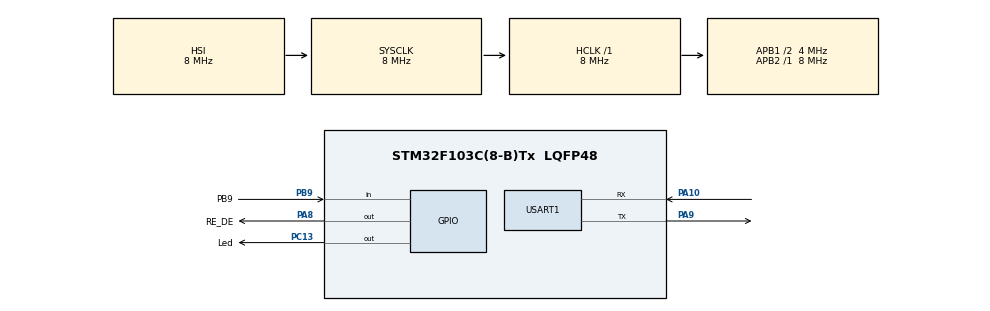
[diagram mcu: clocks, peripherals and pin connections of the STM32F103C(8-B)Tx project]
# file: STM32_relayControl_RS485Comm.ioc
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Mcu.Family=STM32F1
Mcu.Name=STM32F103C(8-B)Tx
Mcu.Package=LQFP48
NVIC.PriorityGroup=NVIC_PRIORITYGROUP_4
NVIC.USART1_IRQn=true\:0\:0\:false\:false\:true\:true\:true\:true
PA10.Mode=Asynchronous
PA10.Signal=USART1_RX
PA13.Mode=Serial_Wire
PA13.Signal=SYS_JTMS-SWDIO
PA14.Mode=Serial_Wire
PA14.Signal=SYS_JTCK-SWCLK
PA8.GPIO_Label=RE_DE
PA8.Signal=GPIO_Output
PA9.Mode=Asynchronous
PA9.Signal=USART1_TX
PB9.GPIO_Label=PB9
PB9.GPIO_PuPd=GPIO_PULLUP
PB9.Signal=GPIO_Input
PC13-TAMPER-RTC.GPIO_Label=Led
PC13-TAMPER-RTC.GPIO_Speed=GPIO_SPEED_FREQ_MEDIUM
PC13-TAMPER-RTC.PinState=GPIO_PIN_SET
PC13-TAMPER-RTC.Signal=GPIO_Output
PD0-OSC_IN.Mode=HSE-External-Oscillator
PD0-OSC_IN.Signal=RCC_OSC_IN
PD1-OSC_OUT.Mode=HSE-External-Oscillator
PD1-OSC_OUT.Signal=RCC_OSC_OUT
ProjectManager.HeapSize=0x200
ProjectManager.StackSize=0x400
ProjectManager.TargetToolchain=STM32CubeIDE
RCC.AHBFreq_Value=8000000
RCC.APB1CLKDivider=RCC_HCLK_DIV2
RCC.APB1Freq_Value=4000000
RCC.APB1TimFreq_Value=8000000
RCC.APB2Freq_Value=8000000
RCC.APB2TimFreq_Value=8000000
RCC.HCLKFreq_Value=8000000
RCC.PLLMUL=RCC_PLL_MUL9
RCC.SYSCLKFreq_VALUE=8000000
RCC.USBFreq_Value=36000000
USART1.VirtualMode=VM_ASYNC
board=custom

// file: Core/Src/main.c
/* USER CODE BEGIN Header */
/**
  ******************************************************************************
  * @file           : main.c
  * @brief          : Main program body
  ******************************************************************************
  * @attention
  *
  * Copyright (c) 2022 STMicroelectronics.
  * All rights reserved.
  *
  * This software is licensed under terms that can be found in the LICENSE file
  * in the root directory of this software component.
  * If no LICENSE file comes with this software, it is provided AS-IS.
  *
  ******************************************************************************
  */
/* USER CODE END Header */
#include "main.h"

/* USER CODE BEGIN Includes */
#include <stdio.h>
#include <string.h>
/* USER CODE END Includes */

UART_HandleTypeDef huart1;

void SystemClock_Config(void);
static void MX_GPIO_Init(void);
static void MX_USART1_UART_Init(void);

/* USER CODE BEGIN 0 */
char TxData[6];
uint8_t RxData[6];

void sendData (uint8_t *data)
{

	HAL_GPIO_WritePin(RE_DE_GPIO_Port, RE_DE_Pin, GPIO_PIN_SET);
	HAL_UART_Transmit(&huart1,data, strlen(data),1000);
	HAL_GPIO_WritePin(RE_DE_GPIO_Port, RE_DE_Pin, GPIO_PIN_RESET); //
}

void HAL_UARTEx_RxEventCallback(UART_HandleTypeDef *huart, uint16_t Size)
{
	HAL_UARTEx_ReceiveToIdle_IT(&huart1, RxData, 16);
	// The function ReceiveToIdle_IT will receive the incoming data and store in the temperature buffer, until the Idle line is detected.
}
/* USER CODE END 0 */

int main(void)
{

  /* MCU Configuration--------------------------------------------------------*/

  /* Reset of all peripherals, Initializes the Flash interface and the Systick. */
  HAL_Init();

  /* Configure the system clock */
  SystemClock_Config();

  /* Initialize all configured peripherals */
  MX_GPIO_Init();
  MX_USART1_UART_Init();
  /* USER CODE BEGIN 2 */

  HAL_UARTEx_ReceiveToIdle_IT(&huart1, RxData, 16);

  /* USER CODE END 2 */

  /* Infinite loop */
  while (1)
  {
    /* USER CODE BEGIN 3 */
	if(HAL_GPIO_ReadPin(GPIOB,PB9_Pin)==GPIO_PIN_RESET) {
	  HAL_GPIO_WritePin(Led_GPIO_Port, Led_Pin,GPIO_PIN_SET);
	  int num = 0;
	  sprintf(TxData,"%d",num);
	  sendData(TxData);
	  HAL_Delay(500);
	}
	else if(HAL_GPIO_ReadPin(GPIOB,PB9_Pin)==GPIO_PIN_SET) {
	  HAL_GPIO_WritePin(Led_GPIO_Port, Led_Pin,GPIO_PIN_RESET);
	  int num=1;
	  sprintf(TxData,"%d",num);
	  sendData(TxData);
	  HAL_Delay(500);
	}
  }
  /* USER CODE END 3 */
}

void SystemClock_Config(void)
{
  RCC_OscInitTypeDef RCC_OscInitStruct = {0};
  RCC_ClkInitTypeDef RCC_ClkInitStruct = {0};

  /** Initializes the RCC Oscillators according to the specified parameters
  * in the RCC_OscInitTypeDef structure.
  */
  RCC_OscInitStruct.OscillatorType = RCC_OSCILLATORTYPE_HSI;
  RCC_OscInitStruct.HSIState = RCC_HSI_ON;
  RCC_OscInitStruct.HSICalibrationValue = RCC_HSICALIBRATION_DEFAULT;
  RCC_OscInitStruct.PLL.PLLState = RCC_PLL_NONE;
  if (HAL_RCC_OscConfig(&RCC_OscInitStruct) != HAL_OK)
  {
    Error_Handler();
  }

  /** Initializes the CPU, AHB and APB buses clocks
  */
  RCC_ClkInitStruct.ClockType = RCC_CLOCKTYPE_HCLK|RCC_CLOCKTYPE_SYSCLK
                              |RCC_CLOCKTYPE_PCLK1|RCC_CLOCKTYPE_PCLK2;
  RCC_ClkInitStruct.SYSCLKSource = RCC_SYSCLKSOURCE_HSI;
  RCC_ClkInitStruct.AHBCLKDivider = RCC_SYSCLK_DIV1;
  RCC_ClkInitStruct.APB1CLKDivider = RCC_HCLK_DIV2;
  RCC_ClkInitStruct.APB2CLKDivider = RCC_HCLK_DIV1;

  if (HAL_RCC_ClockConfig(&RCC_ClkInitStruct, FLASH_LATENCY_0) != HAL_OK)
  {
    Error_Handler();
  }
}

static void MX_USART1_UART_Init(void)
{

  huart1.Instance = USART1;
  huart1.Init.BaudRate = 115200;
  huart1.Init.WordLength = UART_WORDLENGTH_8B;
  huart1.Init.StopBits = UART_STOPBITS_1;
  huart1.Init.Parity = UART_PARITY_NONE;
  huart1.Init.Mode = UART_MODE_TX_RX;
  huart1.Init.HwFlowCtl = UART_HWCONTROL_NONE;
  huart1.Init.OverSampling = UART_OVERSAMPLING_16;
  if (HAL_UART_Init(&huart1) != HAL_OK)
  {
    Error_Handler();
  }

}

static void MX_GPIO_Init(void)
{
  GPIO_InitTypeDef GPIO_InitStruct = {0};

  /* GPIO Ports Clock Enable */
  __HAL_RCC_GPIOC_CLK_ENABLE();
  __HAL_RCC_GPIOD_CLK_ENABLE();
  __HAL_RCC_GPIOA_CLK_ENABLE();
  __HAL_RCC_GPIOB_CLK_ENABLE();

  /*Configure GPIO pin Output Level */
  HAL_GPIO_WritePin(Led_GPIO_Port, Led_Pin, GPIO_PIN_SET);

  /*Configure GPIO pin Output Level */
  HAL_GPIO_WritePin(RE_DE_GPIO_Port, RE_DE_Pin, GPIO_PIN_RESET);

  /*Configure GPIO pin : Led_Pin */
  GPIO_InitStruct.Pin = Led_Pin;
  GPIO_InitStruct.Mode = GPIO_MODE_OUTPUT_PP;
  GPIO_InitStruct.Pull = GPIO_NOPULL;
  GPIO_InitStruct.Speed = GPIO_SPEED_FREQ_MEDIUM;
  HAL_GPIO_Init(Led_GPIO_Port, &GPIO_InitStruct);

  /*Configure GPIO pin : RE_DE_Pin */
  GPIO_InitStruct.Pin = RE_DE_Pin;
  GPIO_InitStruct.Mode = GPIO_MODE_OUTPUT_PP;
  GPIO_InitStruct.Pull = GPIO_NOPULL;
  GPIO_InitStruct.Speed = GPIO_SPEED_FREQ_LOW;
  HAL_GPIO_Init(RE_DE_GPIO_Port, &GPIO_InitStruct);

  /*Configure GPIO pin : PB9_Pin */
  GPIO_InitStruct.Pin = PB9_Pin;
  GPIO_InitStruct.Mode = GPIO_MODE_INPUT;
  GPIO_InitStruct.Pull = GPIO_PULLUP;
  HAL_GPIO_Init(PB9_GPIO_Port, &GPIO_InitStruct);

}

void Error_Handler(void)
{
  __disable_irq();
  while (1)
  {
  }
}
